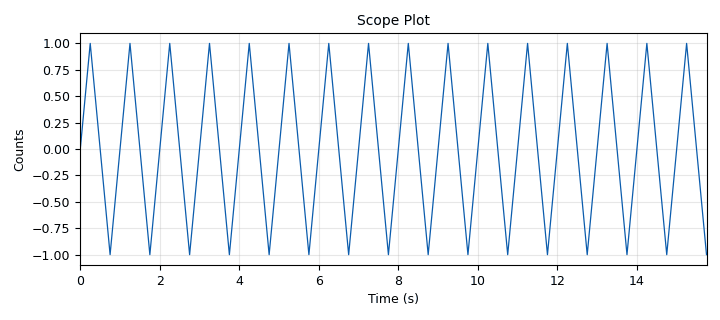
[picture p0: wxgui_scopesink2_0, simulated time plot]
<?xml version='1.0' encoding='utf-8'?>
<?grc format='1' created='3.7.11'?>
<flow_graph>
<block>
<key>options</key>
<param><key>id</key><value>top_block</value></param>
<param><key>generate_options</key><value>wx_gui</value></param>
</block>
<block>
<key>variable</key>
<param><key>id</key><value>samp_rate</value></param>
<param><key>value</key><value>32000</value></param>
</block>
<block>
<key>CS499_get_time</key>
<param><key>id</key><value>CS499_get_time_0</value></param>
<param><key>_enabled</key><value>0</value></param>
</block>
<block>
<key>analog_sig_source_x</key>
<param><key>id</key><value>analog_sig_source_x_0</value></param>
<param><key>amp</key><value>1</value></param>
<param><key>_enabled</key><value>0</value></param>
<param><key>freq</key><value>5</value></param>
<param><key>offset</key><value>0</value></param>
<param><key>type</key><value>float</value></param>
<param><key>samp_rate</key><value>25</value></param>
<param><key>waveform</key><value>analog.GR_COS_WAVE</value></param>
</block>
<block>
<key>analog_sig_source_x</key>
<param><key>id</key><value>analog_sig_source_x_1</value></param>
<param><key>amp</key><value>1</value></param>
<param><key>freq</key><value>1</value></param>
<param><key>offset</key><value>0</value></param>
<param><key>type</key><value>float</value></param>
<param><key>samp_rate</key><value>4</value></param>
<param><key>waveform</key><value>analog.GR_COS_WAVE</value></param>
</block>
<block>
<key>blks2_packet_encoder</key>
<param><key>id</key><value>blks2_packet_encoder_0</value></param>
<param><key>access_code</key><value></value></param>
<param><key>bits_per_symbol</key><value>64</value></param>
<param><key>_enabled</key><value>0</value></param>
<param><key>type</key><value>float</value></param>
<param><key>pad_for_usrp</key><value>True</value></param>
<param><key>payload_length</key><value>0</value></param>
<param><key>preamble</key><value></value></param>
<param><key>samples_per_symbol</key><value>1</value></param>
</block>
<block>
<key>blocks_int_to_float</key>
<param><key>id</key><value>blocks_int_to_float_0</value></param>
<param><key>_enabled</key><value>0</value></param>
<param><key>scale</key><value>1</value></param>
</block>
<block>
<key>blocks_throttle</key>
<param><key>id</key><value>blocks_throttle_0</value></param>
<param><key>samples_per_second</key><value>4</value></param>
<param><key>type</key><value>float</value></param>
</block>
<block>
<key>digital_gmsk_mod</key>
<param><key>id</key><value>digital_gmsk_mod_0</value></param>
<param><key>bt</key><value>0.35</value></param>
<param><key>_enabled</key><value>0</value></param>
<param><key>samples_per_symbol</key><value>2</value></param>
</block>
<block>
<key>limesdr_sink</key>
<param><key>id</key><value>limesdr_sink_0</value></param>
<param><key>calibr_bandw_ch0</key><value>5e6</value></param>
<param><key>digital_bandw_ch0</key><value>0</value></param>
<param><key>gain_dB_ch0</key><value>30</value></param>
<param><key>calibr_bandw_ch1</key><value>5e6</value></param>
<param><key>digital_bandw_ch1</key><value>0</value></param>
<param><key>gain_dB_ch1</key><value>30</value></param>
<param><key>pa_path_ch1</key><value>1</value></param>
<param><key>channel_mode</key><value>0</value></param>
<param><key>_enabled</key><value>0</value></param>
<param><key>oversample</key><value>0</value></param>
<param><key>rf_freq</key><value>100e6</value></param>
<param><key>samp_rate</key><value>samp_rate</value></param>
</block>
<block>
<key>wxgui_numbersink2</key>
<param><key>id</key><value>wxgui_numbersink2_0</value></param>
<param><key>avg_alpha</key><value>0</value></param>
<param><key>average</key><value>False</value></param>
<param><key>decimal_places</key><value>10</value></param>
<param><key>_enabled</key><value>0</value></param>
<param><key>factor</key><value>1.0</value></param>
<param><key>max_value</key><value>100</value></param>
<param><key>min_value</key><value>-100</value></param>
<param><key>number_rate</key><value>15</value></param>
<param><key>peak_hold</key><value>False</value></param>
<param><key>ref_level</key><value>0</value></param>
<param><key>samp_rate</key><value>samp_rate</value></param>
<param><key>show_gauge</key><value>True</value></param>
<param><key>title</key><value>Number Plot</value></param>
<param><key>type</key><value>float</value></param>
<param><key>units</key><value>Units</value></param>
</block>
<block>
<key>wxgui_scopesink2</key>
<param><key>id</key><value>wxgui_scopesink2_0</value></param>
<param><key>ac_couple</key><value>False</value></param>
<param><key>num_inputs</key><value>1</value></param>
<param><key>samp_rate</key><value>4</value></param>
<param><key>t_scale</key><value>0</value></param>
<param><key>title</key><value>Scope Plot</value></param>
<param><key>trig_mode</key><value>wxgui.TRIG_MODE_AUTO</value></param>
<param><key>type</key><value>float</value></param>
<param><key>v_offset</key><value>0</value></param>
<param><key>v_scale</key><value>0</value></param>
<param><key>xy_mode</key><value>False</value></param>
<param><key>y_axis_label</key><value>Counts</value></param>
</block>
<block>
<key>wxgui_scopesink2</key>
<param><key>id</key><value>wxgui_scopesink2_0_0</value></param>
<param><key>ac_couple</key><value>False</value></param>
<param><key>_enabled</key><value>0</value></param>
<param><key>num_inputs</key><value>1</value></param>
<param><key>samp_rate</key><value>samp_rate</value></param>
<param><key>t_scale</key><value>0</value></param>
<param><key>title</key><value>Scope Plot</value></param>
<param><key>trig_mode</key><value>wxgui.TRIG_MODE_AUTO</value></param>
<param><key>type</key><value>float</value></param>
<param><key>v_offset</key><value>0</value></param>
<param><key>v_scale</key><value>0</value></param>
<param><key>xy_mode</key><value>False</value></param>
<param><key>y_axis_label</key><value>Counts</value></param>
</block>
<connection><source_block_id>CS499_get_time_0</source_block_id><sink_block_id>blocks_int_to_float_0</sink_block_id><source_key>0</source_key><sink_key>0</sink_key></connection>
<connection><source_block_id>analog_sig_source_x_0</source_block_id><sink_block_id>wxgui_scopesink2_0_0</sink_block_id><source_key>0</source_key><sink_key>0</sink_key></connection>
<connection><source_block_id>analog_sig_source_x_1</source_block_id><sink_block_id>CS499_get_time_0</sink_block_id><source_key>0</source_key><sink_key>0</sink_key></connection>
<connection><source_block_id>analog_sig_source_x_1</source_block_id><sink_block_id>blocks_throttle_0</sink_block_id><source_key>0</source_key><sink_key>0</sink_key></connection>
<connection><source_block_id>blks2_packet_encoder_0</source_block_id><sink_block_id>digital_gmsk_mod_0</sink_block_id><source_key>0</source_key><sink_key>0</sink_key></connection>
<connection><source_block_id>blocks_int_to_float_0</source_block_id><sink_block_id>wxgui_numbersink2_0</sink_block_id><source_key>0</source_key><sink_key>0</sink_key></connection>
<connection><source_block_id>blocks_throttle_0</source_block_id><sink_block_id>wxgui_scopesink2_0</sink_block_id><source_key>0</source_key><sink_key>0</sink_key></connection>
<connection><source_block_id>digital_gmsk_mod_0</source_block_id><sink_block_id>limesdr_sink_0</sink_block_id><source_key>0</source_key><sink_key>0</sink_key></connection>
</flow_graph>
